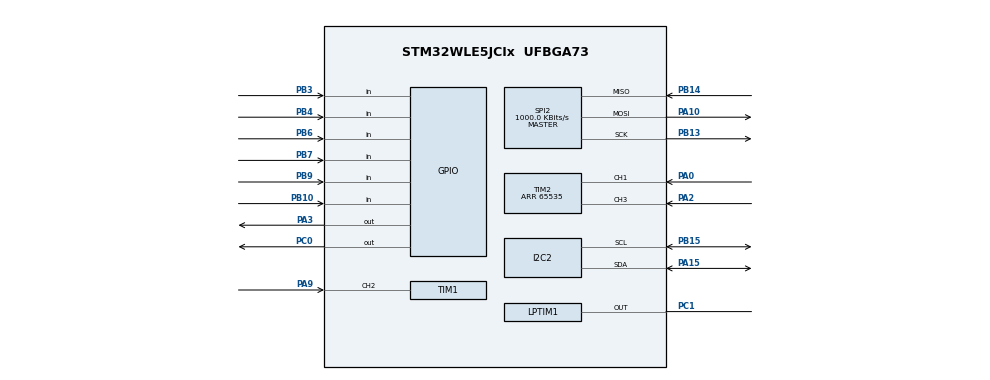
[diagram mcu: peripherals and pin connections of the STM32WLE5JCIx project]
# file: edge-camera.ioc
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Dma.Request0=TIM1_CH2
Dma.TIM1_CH2.0.Direction=DMA_PERIPH_TO_MEMORY
Dma.TIM1_CH2.0.EventEnable=DISABLE
Dma.TIM1_CH2.0.Instance=DMA1_Channel1
Dma.TIM1_CH2.0.MemDataAlignment=DMA_MDATAALIGN_HALFWORD
Dma.TIM1_CH2.0.MemInc=DMA_MINC_ENABLE
Dma.TIM1_CH2.0.Mode=DMA_CIRCULAR
Dma.TIM1_CH2.0.PeriphDataAlignment=DMA_PDATAALIGN_HALFWORD
Dma.TIM1_CH2.0.PeriphInc=DMA_PINC_DISABLE
Dma.TIM1_CH2.0.Polarity=HAL_DMAMUX_REQ_GEN_RISING
Dma.TIM1_CH2.0.Priority=DMA_PRIORITY_VERY_HIGH
Dma.TIM1_CH2.0.RequestNumber=1
Dma.TIM1_CH2.0.SignalID=NONE
Dma.TIM1_CH2.0.SyncEnable=DISABLE
Dma.TIM1_CH2.0.SyncPolarity=HAL_DMAMUX_SYNC_NO_EVENT
Dma.TIM1_CH2.0.SyncRequestNumber=1
Dma.TIM1_CH2.0.SyncSignalID=NONE
I2C2.Timing=0x20303E5D
Mcu.Family=STM32WL
Mcu.Name=STM32WLE5JCIx
Mcu.Package=UFBGA73
NVIC.DMA1_Channel1_IRQn=true\:0\:0\:false\:false\:true\:false\:true\:true
NVIC.PriorityGroup=NVIC_PRIORITYGROUP_4
NVIC.TIM2_IRQn=true\:0\:0\:false\:false\:true\:true\:true\:true
PA0.Signal=S_TIM2_CH1
PA10.Mode=Full_Duplex_Master
PA10.Signal=SPI2_MOSI
PA15.GPIO_Pu=GPIO_PULLUP
PA15.GPIO_Speed=GPIO_SPEED_FREQ_VERY_HIGH
PA15.Mode=I2C
PA15.Signal=I2C2_SDA
PA2.Signal=S_TIM2_CH3
PA3.Signal=GPIO_Output
PA9.Signal=S_TIM1_CH2
PB10.Signal=GPIO_Input
PB13.Mode=Full_Duplex_Master
PB13.Signal=SPI2_SCK
PB14.Mode=Full_Duplex_Master
PB14.Signal=SPI2_MISO
PB15.GPIO_Pu=GPIO_PULLUP
PB15.GPIO_Speed=GPIO_SPEED_FREQ_VERY_HIGH
PB15.Mode=I2C
PB15.Signal=I2C2_SCL
PB3.Signal=GPIO_Input
PB4.Signal=GPIO_Input
PB6.Signal=GPIO_Input
PB7.Signal=GPIO_Input
PB9.Signal=GPIO_Input
PC0.Signal=GPIO_Output
PC1.Mode=WaveformGeneration
PC1.Signal=LPTIM1_OUT
ProjectManager.HeapSize=0x200
ProjectManager.StackSize=0x400
ProjectManager.TargetToolchain=Makefile
RCC.AHBFreq_Value=48000000
RCC.APB1Freq_Value=48000000
RCC.APB1TimFreq_Value=48000000
RCC.APB2Freq_Value=48000000
RCC.APB2TimFreq_Value=48000000
RCC.APB3Freq_Value=48000000
RCC.CortexFreq_Value=48000000
RCC.HCLKFreq_Value=48000000
RCC.HSE_VALUE=8000000
RCC.HSI_VALUE=16000000
RCC.LSE_VALUE=32768
RCC.MSIClockRange=RCC_MSIRANGE_11
RCC.SYSCLKFreq_VALUE=48000000
RCC.VCOOutputFreq_Value=384000000
SH.S_TIM1_CH2.0=TIM1_CH2,Input_Capture2_from_TI2
SH.S_TIM2_CH1.0=TIM2_CH1,Input_Capture1_from_TI1
SH.S_TIM2_CH3.0=TIM2_CH3,Input_Capture3_from_TI3
SPI2.BaudRatePrescaler=SPI_BAUDRATEPRESCALER_16
SPI2.CalculateBaudRate=1000.0 KBits/s
SPI2.DataSize=SPI_DATASIZE_8BIT
SPI2.Direction=SPI_DIRECTION_2LINES
SPI2.Mode=SPI_MODE_MASTER
SPI2.NSSPMode=SPI_NSS_PULSE_DISABLE
SPI2.VirtualType=VM_MASTER
TIM1.Channel-Input_Capture2_from_TI2=TIM_CHANNEL_2
TIM1.ICPolarity_CH2=TIM_INPUTCHANNELPOLARITY_RISING
TIM1.TIM_MasterSlaveMode=TIM_MASTERSLAVEMODE_DISABLE
TIM2.Channel-Input_Capture1_from_TI1=TIM_CHANNEL_1
TIM2.Channel-Input_Capture3_from_TI3=TIM_CHANNEL_3
TIM2.ICPolarity_CH1=TIM_INPUTCHANNELPOLARITY_FALLING
TIM2.ICPolarity_CH3=TIM_INPUTCHANNELPOLARITY_FALLING
TIM2.Period=65535
VP_LPTIM1_VS_LPTIM_counterModeInternalClock.Mode=Counts__internal_clock_event_00
VP_TIM1_VS_ClockSourceINT.Mode=Internal
VP_TIM2_VS_ClockSourceINT.Mode=Internal
board=custom

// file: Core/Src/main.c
/* USER CODE BEGIN Header */
/**
 ******************************************************************************
 * @file           : main.c
 * @brief          : Main program body
 ******************************************************************************
 * @attention
 *
 * Copyright (c) 2023 STMicroelectronics.
 * All rights reserved.
 *
 * This software is licensed under terms that can be found in the LICENSE file
 * in the root directory of this software component.
 * If no LICENSE file comes with this software, it is provided AS-IS.
 *
 ******************************************************************************
 */
/* USER CODE END Header */
#include "main.h"

/* USER CODE BEGIN Includes */
#include "arm_math.h"
/* USER CODE END Includes */

I2C_HandleTypeDef hi2c2;

LPTIM_HandleTypeDef hlptim1;

SPI_HandleTypeDef hspi2;

TIM_HandleTypeDef htim1;
TIM_HandleTypeDef htim2;
DMA_HandleTypeDef hdma_tim1_ch2;

void SystemClock_Config(void);
static void MX_GPIO_Init(void);
static void MX_DMA_Init(void);
static void MX_TIM2_Init(void);
static void MX_TIM1_Init(void);
static void MX_LPTIM1_Init(void);
static void MX_I2C2_Init(void);
static void MX_SPI2_Init(void);
/* USER CODE BEGIN PFP */
uint8_t DetectMotion(uint32_t frame1_address, uint32_t frame2_address, uint32_t size, uint8_t sensitivity);
/* USER CODE END PFP */

int main(void)
{

  /* MCU Configuration--------------------------------------------------------*/

  /* Reset of all peripherals, Initializes the Flash interface and the Systick. */
  HAL_Init();

  /* Configure the system clock */
  SystemClock_Config();

  /* Initialize all configured peripherals */
  MX_GPIO_Init();
  MX_DMA_Init();
  MX_TIM2_Init();
  MX_TIM1_Init();
  MX_LPTIM1_Init();
  MX_I2C2_Init();
  MX_SPI2_Init();
  /* USER CODE BEGIN 2 */
  W25qxx_Init();
  uint32_t frame_address = 0;
  uint8_t second_frame_captured = 0;
  /* USER CODE END 2 */

  /* Infinite loop */
  /* USER CODE BEGIN WHILE */
  while (1)
  {
    HAL_GPIO_WritePin(GPIOA, GPIO_PIN_3, GPIO_PIN_RESET);
    CaptureFrame(frame_address, 4);
    if (second_frame_captured)
    {
      uint8_t detection = DetectMotion(0, 8192, 4800, 50);
      if (detection)
      {
        HAL_GPIO_WritePin(GPIOA, GPIO_PIN_3, GPIO_PIN_SET);
      }
    }
    second_frame_captured = 1;
    frame_address = (frame_address + 8192) % (2 * 8192);
    HAL_Delay(1000);
    /* USER CODE END WHILE */

  }
}

void SystemClock_Config(void)
{
  RCC_OscInitTypeDef RCC_OscInitStruct = {0};
  RCC_ClkInitTypeDef RCC_ClkInitStruct = {0};

  /** Configure the main internal regulator output voltage
   */
  __HAL_PWR_VOLTAGESCALING_CONFIG(PWR_REGULATOR_VOLTAGE_SCALE1);

  /** Initializes the CPU, AHB and APB buses clocks
   */
  RCC_OscInitStruct.OscillatorType = RCC_OSCILLATORTYPE_HSI | RCC_OSCILLATORTYPE_MSI;
  RCC_OscInitStruct.HSIState = RCC_HSI_ON;
  RCC_OscInitStruct.MSIState = RCC_MSI_ON;
  RCC_OscInitStruct.HSICalibrationValue = RCC_HSICALIBRATION_DEFAULT;
  RCC_OscInitStruct.MSICalibrationValue = RCC_MSICALIBRATION_DEFAULT;
  RCC_OscInitStruct.MSIClockRange = RCC_MSIRANGE_11;
  RCC_OscInitStruct.PLL.PLLState = RCC_PLL_NONE;
  if (HAL_RCC_OscConfig(&RCC_OscInitStruct) != HAL_OK)
  {
    Error_Handler();
  }

  /** Configure the SYSCLKSource, HCLK, PCLK1 and PCLK2 clocks dividers
   */
  RCC_ClkInitStruct.ClockType = RCC_CLOCKTYPE_HCLK3 | RCC_CLOCKTYPE_HCLK | RCC_CLOCKTYPE_SYSCLK | RCC_CLOCKTYPE_PCLK1 | RCC_CLOCKTYPE_PCLK2;
  RCC_ClkInitStruct.SYSCLKSource = RCC_SYSCLKSOURCE_MSI;
  RCC_ClkInitStruct.AHBCLKDivider = RCC_SYSCLK_DIV1;
  RCC_ClkInitStruct.APB1CLKDivider = RCC_HCLK_DIV1;
  RCC_ClkInitStruct.APB2CLKDivider = RCC_HCLK_DIV1;
  RCC_ClkInitStruct.AHBCLK3Divider = RCC_SYSCLK_DIV1;

  if (HAL_RCC_ClockConfig(&RCC_ClkInitStruct, FLASH_LATENCY_2) != HAL_OK)
  {
    Error_Handler();
  }
}

static void MX_I2C2_Init(void)
{

  hi2c2.Instance = I2C2;
  hi2c2.Init.Timing = 0x20303E5D;
  hi2c2.Init.OwnAddress1 = 0;
  hi2c2.Init.AddressingMode = I2C_ADDRESSINGMODE_7BIT;
  hi2c2.Init.DualAddressMode = I2C_DUALADDRESS_DISABLE;
  hi2c2.Init.OwnAddress2 = 0;
  hi2c2.Init.OwnAddress2Masks = I2C_OA2_NOMASK;
  hi2c2.Init.GeneralCallMode = I2C_GENERALCALL_DISABLE;
  hi2c2.Init.NoStretchMode = I2C_NOSTRETCH_DISABLE;
  if (HAL_I2C_Init(&hi2c2) != HAL_OK)
  {
    Error_Handler();
  }

  /** Configure Analogue filter
   */
  if (HAL_I2CEx_ConfigAnalogFilter(&hi2c2, I2C_ANALOGFILTER_ENABLE) != HAL_OK)
  {
    Error_Handler();
  }

  /** Configure Digital filter
   */
  if (HAL_I2CEx_ConfigDigitalFilter(&hi2c2, 0) != HAL_OK)
  {
    Error_Handler();
  }
}

static void MX_LPTIM1_Init(void)
{

  hlptim1.Instance = LPTIM1;
  hlptim1.Init.Clock.Source = LPTIM_CLOCKSOURCE_APBCLOCK_LPOSC;
  hlptim1.Init.Clock.Prescaler = LPTIM_PRESCALER_DIV1;
  hlptim1.Init.Trigger.Source = LPTIM_TRIGSOURCE_SOFTWARE;
  hlptim1.Init.OutputPolarity = LPTIM_OUTPUTPOLARITY_HIGH;
  hlptim1.Init.UpdateMode = LPTIM_UPDATE_IMMEDIATE;
  hlptim1.Init.CounterSource = LPTIM_COUNTERSOURCE_INTERNAL;
  hlptim1.Init.Input1Source = LPTIM_INPUT1SOURCE_GPIO;
  hlptim1.Init.Input2Source = LPTIM_INPUT2SOURCE_GPIO;
  if (HAL_LPTIM_Init(&hlptim1) != HAL_OK)
  {
    Error_Handler();
  }
}

static void MX_SPI2_Init(void)
{

  /* SPI2 parameter configuration*/
  hspi2.Instance = SPI2;
  hspi2.Init.Mode = SPI_MODE_MASTER;
  hspi2.Init.Direction = SPI_DIRECTION_2LINES;
  hspi2.Init.DataSize = SPI_DATASIZE_8BIT;
  hspi2.Init.CLKPolarity = SPI_POLARITY_LOW;
  hspi2.Init.CLKPhase = SPI_PHASE_1EDGE;
  hspi2.Init.NSS = SPI_NSS_SOFT;
  hspi2.Init.BaudRatePrescaler = SPI_BAUDRATEPRESCALER_16;
  hspi2.Init.FirstBit = SPI_FIRSTBIT_MSB;
  hspi2.Init.TIMode = SPI_TIMODE_DISABLE;
  hspi2.Init.CRCCalculation = SPI_CRCCALCULATION_DISABLE;
  hspi2.Init.CRCPolynomial = 7;
  hspi2.Init.CRCLength = SPI_CRC_LENGTH_DATASIZE;
  hspi2.Init.NSSPMode = SPI_NSS_PULSE_DISABLE;
  if (HAL_SPI_Init(&hspi2) != HAL_OK)
  {
    Error_Handler();
  }
}

static void MX_TIM1_Init(void)
{

  TIM_ClockConfigTypeDef sClockSourceConfig = {0};
  TIM_MasterConfigTypeDef sMasterConfig = {0};
  TIM_IC_InitTypeDef sConfigIC = {0};

  htim1.Instance = TIM1;
  htim1.Init.Prescaler = 0;
  htim1.Init.CounterMode = TIM_COUNTERMODE_UP;
  htim1.Init.Period = 65535;
  htim1.Init.ClockDivision = TIM_CLOCKDIVISION_DIV1;
  htim1.Init.RepetitionCounter = 0;
  htim1.Init.AutoReloadPreload = TIM_AUTORELOAD_PRELOAD_DISABLE;
  if (HAL_TIM_Base_Init(&htim1) != HAL_OK)
  {
    Error_Handler();
  }
  sClockSourceConfig.ClockSource = TIM_CLOCKSOURCE_INTERNAL;
  if (HAL_TIM_ConfigClockSource(&htim1, &sClockSourceConfig) != HAL_OK)
  {
    Error_Handler();
  }
  if (HAL_TIM_IC_Init(&htim1) != HAL_OK)
  {
    Error_Handler();
  }
  sMasterConfig.MasterOutputTrigger = TIM_TRGO_RESET;
  sMasterConfig.MasterOutputTrigger2 = TIM_TRGO2_RESET;
  sMasterConfig.MasterSlaveMode = TIM_MASTERSLAVEMODE_DISABLE;
  if (HAL_TIMEx_MasterConfigSynchronization(&htim1, &sMasterConfig) != HAL_OK)
  {
    Error_Handler();
  }
  sConfigIC.ICPolarity = TIM_INPUTCHANNELPOLARITY_RISING;
  sConfigIC.ICSelection = TIM_ICSELECTION_DIRECTTI;
  sConfigIC.ICPrescaler = TIM_ICPSC_DIV1;
  sConfigIC.ICFilter = 0;
  if (HAL_TIM_IC_ConfigChannel(&htim1, &sConfigIC, TIM_CHANNEL_2) != HAL_OK)
  {
    Error_Handler();
  }
}

static void MX_TIM2_Init(void)
{

  TIM_ClockConfigTypeDef sClockSourceConfig = {0};
  TIM_MasterConfigTypeDef sMasterConfig = {0};
  TIM_IC_InitTypeDef sConfigIC = {0};

  htim2.Instance = TIM2;
  htim2.Init.Prescaler = 0;
  htim2.Init.CounterMode = TIM_COUNTERMODE_UP;
  htim2.Init.Period = 65535;
  htim2.Init.ClockDivision = TIM_CLOCKDIVISION_DIV1;
  htim2.Init.AutoReloadPreload = TIM_AUTORELOAD_PRELOAD_DISABLE;
  if (HAL_TIM_Base_Init(&htim2) != HAL_OK)
  {
    Error_Handler();
  }
  sClockSourceConfig.ClockSource = TIM_CLOCKSOURCE_INTERNAL;
  if (HAL_TIM_ConfigClockSource(&htim2, &sClockSourceConfig) != HAL_OK)
  {
    Error_Handler();
  }
  if (HAL_TIM_IC_Init(&htim2) != HAL_OK)
  {
    Error_Handler();
  }
  sMasterConfig.MasterOutputTrigger = TIM_TRGO_RESET;
  sMasterConfig.MasterSlaveMode = TIM_MASTERSLAVEMODE_DISABLE;
  if (HAL_TIMEx_MasterConfigSynchronization(&htim2, &sMasterConfig) != HAL_OK)
  {
    Error_Handler();
  }
  sConfigIC.ICPolarity = TIM_INPUTCHANNELPOLARITY_FALLING;
  sConfigIC.ICSelection = TIM_ICSELECTION_DIRECTTI;
  sConfigIC.ICPrescaler = TIM_ICPSC_DIV1;
  sConfigIC.ICFilter = 0;
  if (HAL_TIM_IC_ConfigChannel(&htim2, &sConfigIC, TIM_CHANNEL_1) != HAL_OK)
  {
    Error_Handler();
  }
  if (HAL_TIM_IC_ConfigChannel(&htim2, &sConfigIC, TIM_CHANNEL_3) != HAL_OK)
  {
    Error_Handler();
  }
}

static void MX_DMA_Init(void)
{

  /* DMA controller clock enable */
  __HAL_RCC_DMAMUX1_CLK_ENABLE();
  __HAL_RCC_DMA1_CLK_ENABLE();

  /* DMA interrupt init */
  /* DMA1_Channel1_IRQn interrupt configuration */
  HAL_NVIC_SetPriority(DMA1_Channel1_IRQn, 0, 0);
  HAL_NVIC_EnableIRQ(DMA1_Channel1_IRQn);
}

static void MX_GPIO_Init(void)
{
  GPIO_InitTypeDef GPIO_InitStruct = {0};

  /* GPIO Ports Clock Enable */
  __HAL_RCC_GPIOA_CLK_ENABLE();
  __HAL_RCC_GPIOB_CLK_ENABLE();
  __HAL_RCC_GPIOC_CLK_ENABLE();

  /*Configure GPIO pin Output Level */
  HAL_GPIO_WritePin(GPIOC, GPIO_PIN_0, GPIO_PIN_RESET);

  /*Configure GPIO pin Output Level */
  HAL_GPIO_WritePin(GPIOA, GPIO_PIN_3, GPIO_PIN_RESET);

  /*Configure GPIO pins : PB3 PB4 PB7 PB9
                           PB6 PB10 */
  GPIO_InitStruct.Pin = GPIO_PIN_3 | GPIO_PIN_4 | GPIO_PIN_7 | GPIO_PIN_9 | GPIO_PIN_6 | GPIO_PIN_10;
  GPIO_InitStruct.Mode = GPIO_MODE_INPUT;
  GPIO_InitStruct.Pull = GPIO_NOPULL;
  HAL_GPIO_Init(GPIOB, &GPIO_InitStruct);

  /*Configure GPIO pin : PC0 */
  GPIO_InitStruct.Pin = GPIO_PIN_0;
  GPIO_InitStruct.Mode = GPIO_MODE_OUTPUT_PP;
  GPIO_InitStruct.Pull = GPIO_NOPULL;
  GPIO_InitStruct.Speed = GPIO_SPEED_FREQ_LOW;
  HAL_GPIO_Init(GPIOC, &GPIO_InitStruct);

  /*Configure GPIO pin : PA3 */
  GPIO_InitStruct.Pin = GPIO_PIN_3;
  GPIO_InitStruct.Mode = GPIO_MODE_OUTPUT_PP;
  GPIO_InitStruct.Pull = GPIO_NOPULL;
  GPIO_InitStruct.Speed = GPIO_SPEED_FREQ_LOW;
  HAL_GPIO_Init(GPIOA, &GPIO_InitStruct);

}

/* USER CODE BEGIN 4 */
uint8_t DetectMotion(uint32_t frame1_address, uint32_t frame2_address, uint32_t size, uint8_t sensitivity)
{
  float32_t avg_abs_difference = 0;
  float32_t avg_abs_difference_buffer;
  uint32_t n_buffer;
  float32_t frame1_buffer[100];
  float32_t frame2_buffer[100];
  uint8_t frame_buffer[100];
  for (int i = 0; i < size; i += 100)
  {
    n_buffer = size - i < 100 ? size - i : 100;
    W25qxx_Read(frame_buffer, frame1_address + i, n_buffer);
    for (int j = 0; j < n_buffer; j++)
    {
      frame1_buffer[j] = (float32_t)frame_buffer[j];
    }
    W25qxx_Read(frame_buffer, frame2_address + i, n_buffer);
    for (int j = 0; j < n_buffer; j++)
    {
      frame2_buffer[j] = (float32_t)frame_buffer[j];
    }
    arm_sub_f32(frame1_buffer, frame2_buffer, frame1_buffer, n_buffer);
    arm_abs_f32(frame1_buffer, frame1_buffer, n_buffer);
    arm_mean_f32(frame1_buffer, n_buffer, &avg_abs_difference_buffer);
    avg_abs_difference += avg_abs_difference_buffer * n_buffer;
  }
  avg_abs_difference /= size;
  return avg_abs_difference > sensitivity;
}
/* USER CODE END 4 */

void Error_Handler(void)
{
  __disable_irq();
  while (1)
  {
  }
}
